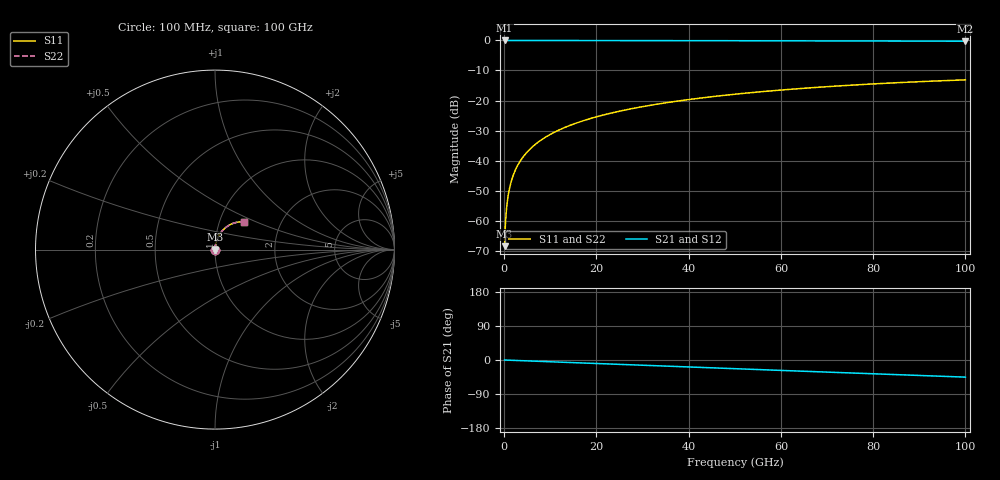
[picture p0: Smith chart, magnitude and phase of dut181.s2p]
! Touchstone file exported from HFSS 2026.1.0
!  File:  C:/ffzhzh/LocalFiles/Ansys_Project_Files/temp_train_TSV_181_1783507109_31944.aedt
!  Generated:  06:39:54 PM Jul  8, 2026
!  Design:  TSV
!  Project:  temp_train_TSV_181_1783507109_31944
! Variables:
!  h_bsmrdl = 2um
!  h_ox = 20um
!  h_rdl = 5um
!  h_sub = 85.99um
!  h_tmrdl = 5um
!  h_tsv = 85.99um
!  h_via = 3um
!  l_bsmrdl = 300um
!  l_sub = 415.02um
!  l_tmrdl = 200um
!  m_sub = 200um
!  pitch = 48.08um
!  r_tsv = 7.51um
!  s_tmrdl = 10um
!  w_bsmrdl = 18um
!  w_sub = 500um
!  w_tmrdl = 12um
!  x_tsv_center1 = 206um
!  x_tsv_center2 = 524um
!  x_tsv_center3 = 736um
!  x_tsv_center4 = 1054um
!  x_tsv_center5 = 1266um
!  x_tsv_center6 = 1584um
# GHz S MA R 50.000000
! Terminal data exported
! Port[1] = TSV1_1_T1
! Port[2] = TSV1_1_T2
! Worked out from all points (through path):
!   1000 points, 100 MHz to 100 GHz, reference 50 ohm
!   highest |S21| = 0.00 dB at 100 MHz (marker M1); lowest = -0.2 dB at 100 GHz (marker M2)
!   group delay of S21, straight-line fit = 1.26 ps
!   lowest |S11| = -68.5 dB at 100 MHz (marker M3), VSWR 1.00, Z = 50 + j0.0314 ohm
!   |S11| at or under -10 dB: start of sweep to end of sweep
!   |S22| runs from -68.5 to -13.1 dB; largest |S21 - S12| = 4.6e-15
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0.1  0.0003774 56.3  0.9998 -0.0  0.9998 -0.0  0.0003774 56.3
! Gamma 0 0 0 0
! Port Impedance 50 0 50 0
0.4  0.001253 77.9  0.9997 -0.2  0.9997 -0.2  0.001253 77.9
0.7  0.002122 81.3  0.9997 -0.3  0.9997 -0.3  0.002122 81.3
0.8  0.002409 81.8  0.9997 -0.4  0.9997 -0.4  0.002409 81.8
1  0.002979 82.6  0.9996 -0.5  0.9996 -0.5  0.002979 82.6
1.3  0.003829 83.4  0.9996 -0.6  0.9996 -0.6  0.003829 83.4
1.7  0.004952 83.9  0.9995 -0.8  0.9995 -0.8  0.004952 83.9
2.3  0.006616 84.2  0.9994 -1.1  0.9994 -1.1  0.006616 84.2
3  0.008532 84.3  0.9993 -1.4  0.9993 -1.4  0.008532 84.3
3.8  0.0107 84.4  0.9992 -1.8  0.9992 -1.8  0.0107 84.4
4.8  0.0134 84.3  0.9991 -2.3  0.9991 -2.3  0.0134 84.3
6  0.01663 84.1  0.999 -2.8  0.999 -2.8  0.01663 84.1
8.8  0.02413 83.3  0.9986 -4.1  0.9986 -4.1  0.02413 83.3
12.4  0.03369 82.0  0.9981 -5.8  0.9981 -5.8  0.03369 82.0
16.8  0.04526 80.3  0.9975 -7.8  0.9975 -7.8  0.04526 80.3
24.2  0.06445 77.2  0.9961 -11.2  0.9961 -11.2  0.06445 77.2
33.4  0.0877 73.2  0.994 -15.4  0.994 -15.4  0.0877 73.2
41.2  0.1068 69.8  0.9919 -19.0  0.9919 -19.0  0.1068 69.8
50.1  0.1276 65.9  0.9893 -23.0  0.9893 -23.0  0.1276 65.9
66.7  0.1636 58.6  0.9836 -30.5  0.9836 -30.5  0.1636 58.6
83.4  0.1951 51.2  0.9776 -37.9  0.9776 -37.9  0.1951 51.2
100  0.221 44.0  0.9717 -45.2  0.9717 -45.2  0.221 44.0
